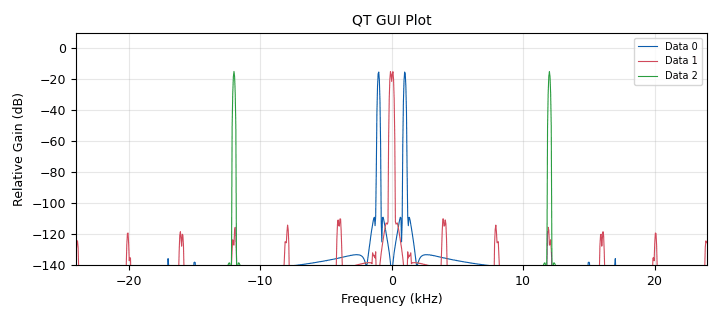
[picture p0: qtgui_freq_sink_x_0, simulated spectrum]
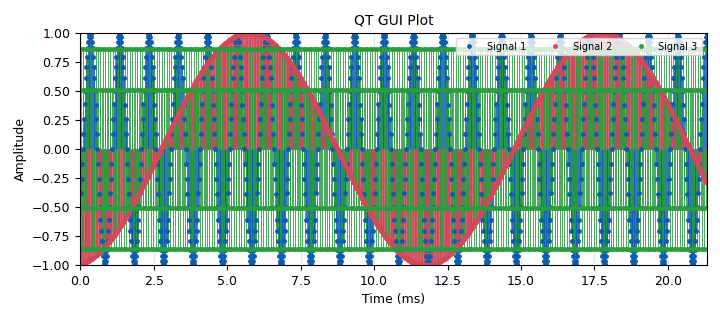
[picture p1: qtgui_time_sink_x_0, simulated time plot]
options:
  parameters:
    author: kamil
    generate_options: qt_gui
    id: Interpolar
    output_language: python
    title: Interpolar
  states: {}

blocks:
- name: samp_rate
  id: variable
  parameters:
    value: '48000'
  states: {}
- name: analog_sig_source_x_0
  id: analog_sig_source_x
  parameters:
    amp: '1'
    freq: '1000'
    offset: '0'
    phase: '0'
    samp_rate: samp_rate
    type: float
    waveform: analog.GR_COS_WAVE
  states: {}
- name: analog_sig_source_x_0_0
  id: analog_sig_source_x
  parameters:
    amp: '1'
    freq: '1000'
    offset: '0'
    phase: '0'
    samp_rate: samp_rate
    type: float
    waveform: analog.GR_SIN_WAVE
  states: {}
- name: analog_sig_source_x_0_0_0
  id: analog_sig_source_x
  parameters:
    amp: '1'
    freq: '1000'
    offset: '0'
    phase: '0'
    samp_rate: samp_rate
    type: float
    waveform: analog.GR_SIN_WAVE
  states: {}
- name: blocks_throttle_0
  id: blocks_throttle
  parameters:
    samples_per_second: samp_rate
    type: float
  states: {}
- name: qtgui_freq_sink_x_0
  id: qtgui_freq_sink_x
  parameters:
    bw: samp_rate
    fc: '0'
    fftsize: '1024'
    name: QT GUI Plot
    nconnections: '3'
    type: float
    wintype: firdes.WIN_BLACKMAN_hARRIS
  states: {}
- name: qtgui_time_sink_x_0
  id: qtgui_time_sink_x
  parameters:
    color1: dark blue
    color2: dark green
    color3: dark red
    marker1: '0'
    marker2: '0'
    marker3: '0'
    name: QT GUI Plot
    nconnections: '3'
    size: '1024'
    srate: samp_rate
    stemplot: 'True'
    style1: '0'
    type: float
  states: {}
- name: rational_resampler_xxx_0
  id: rational_resampler_xxx
  parameters:
    decim: '1'
    interp: '12'
    taps: ''
    type: fff
  states: {}
- name: rational_resampler_xxx_0_0
  id: rational_resampler_xxx
  parameters:
    decim: '1'
    interp: '1'
    taps: ''
    type: fff
  states: {}
- name: rational_resampler_xxx_0_0_0
  id: rational_resampler_xxx
  parameters:
    decim: '12'
    interp: '1'
    taps: ''
    type: fff
  states: {}

connections:
- [analog_sig_source_x_0, '0', rational_resampler_xxx_0_0, '0']
- [analog_sig_source_x_0_0, '0', rational_resampler_xxx_0, '0']
- [analog_sig_source_x_0_0_0, '0', rational_resampler_xxx_0_0_0, '0']
- [blocks_throttle_0, '0', qtgui_freq_sink_x_0, '0']
- [blocks_throttle_0, '0', qtgui_time_sink_x_0, '0']
- [rational_resampler_xxx_0, '0', qtgui_freq_sink_x_0, '1']
- [rational_resampler_xxx_0, '0', qtgui_time_sink_x_0, '1']
- [rational_resampler_xxx_0_0, '0', blocks_throttle_0, '0']
- [rational_resampler_xxx_0_0_0, '0', qtgui_freq_sink_x_0, '2']
- [rational_resampler_xxx_0_0_0, '0', qtgui_time_sink_x_0, '2']

metadata:
  file_format: 1
